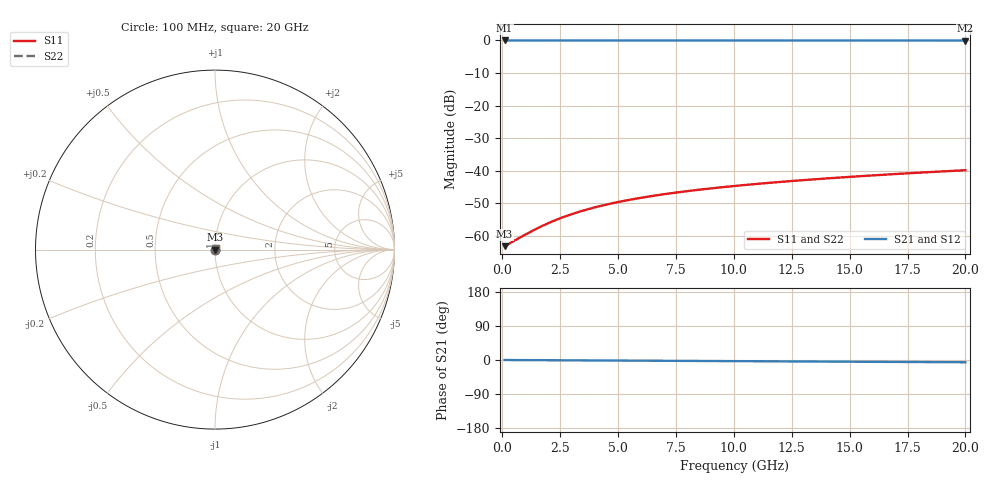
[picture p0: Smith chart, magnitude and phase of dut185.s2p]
! Touchstone file exported from HFSS 2026.1.0
!  File:  C:/ffzhzh/LocalFiles/Ansys_Project_Files/temp_train_TSV_185_1782991388_42984.aedt
!  Generated:  07:25:15 PM Jul  2, 2026
!  Design:  TSV
!  Project:  temp_train_TSV_185_1782991388_42984
! Variables:
!  h_bsmrdl = 2um
!  h_ox = 20um
!  h_rdl = 5um
!  h_sub = 63.41um
!  h_tmrdl = 5um
!  h_tsv = 63.41um
!  h_via = 3um
!  l_bsmrdl = 300um
!  l_sub = 406.64um
!  l_tmrdl = 200um
!  m_sub = 200um
!  pitch = 15.32um
!  r_tsv = 3.32um
!  s_tmrdl = 10um
!  w_bsmrdl = 18um
!  w_sub = 500um
!  w_tmrdl = 12um
!  x_tsv_center1 = 206um
!  x_tsv_center2 = 524um
!  x_tsv_center3 = 736um
!  x_tsv_center4 = 1054um
!  x_tsv_center5 = 1266um
!  x_tsv_center6 = 1584um
# GHz S MA R 50.000000
! Terminal data exported
! Port[1] = TSV1_1_T1
! Port[2] = TSV1_1_T2
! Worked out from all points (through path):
!   200 points, 100 MHz to 20 GHz, reference 50 ohm
!   highest |S21| = -0.01 dB at 100 MHz (marker M1); lowest = 0.0 dB at 20 GHz (marker M2)
!   lowest |S11| = -63.1 dB at 100 MHz (marker M3), VSWR 1.00, Z = 50.1 + j0.00891 ohm
!   |S11| at or under -10 dB: start of sweep to end of sweep
!   |S22| runs from -63.1 to -39.8 dB; largest |S21 - S12| = 9.6e-15
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0.1  0.000698 7.3  0.9993 -0.0  0.9993 -0.0  0.000698 7.3
! Gamma 0 0 0 0
! Port Impedance 50 0 50 0
0.2  0.0007276 13.6  0.9993 -0.1  0.9993 -0.1  0.0007276 13.6
0.6  0.0008803 29.8  0.9992 -0.2  0.9992 -0.2  0.0008803 29.8
1.2  0.001148 45.1  0.9992 -0.4  0.9992 -0.4  0.001148 45.1
1.6  0.001357 51.6  0.9992 -0.5  0.9992 -0.5  0.001357 51.6
1.9  0.001523 55.2  0.9991 -0.6  0.9991 -0.6  0.001523 55.2
2.3  0.001753 58.7  0.9991 -0.7  0.9991 -0.7  0.001753 58.7
2.7  0.001987 61.2  0.9991 -0.8  0.9991 -0.8  0.001987 61.2
3.1  0.002223 63.1  0.999 -0.9  0.999 -0.9  0.002223 63.1
3.5  0.002458 64.4  0.999 -1.1  0.999 -1.1  0.002458 64.4
4.2  0.002865 65.9  0.9989 -1.3  0.9989 -1.3  0.002865 65.9
5  0.003317 67.0  0.9988 -1.5  0.9988 -1.5  0.003317 67.0
5.9  0.003808 67.6  0.9987 -1.8  0.9987 -1.8  0.003808 67.6
6.8  0.004281 68.0  0.9985 -2.1  0.9985 -2.1  0.004281 68.0
7.5  0.004637 68.1  0.9984 -2.3  0.9984 -2.3  0.004637 68.1
8.3  0.005032 68.3  0.9983 -2.5  0.9983 -2.5  0.005032 68.3
10.1  0.005887 68.5  0.9981 -3.0  0.9981 -3.0  0.005887 68.5
11.7  0.006617 68.6  0.9979 -3.5  0.9979 -3.5  0.006617 68.6
13.4  0.007373 68.7  0.9978 -4.0  0.9978 -4.0  0.007373 68.7
15  0.008073 68.8  0.9976 -4.5  0.9976 -4.5  0.008073 68.8
16.7  0.008806 68.8  0.9975 -5.0  0.9975 -5.0  0.008806 68.8
20  0.01021 68.8  0.9973 -6.0  0.9973 -6.0  0.01021 68.8
